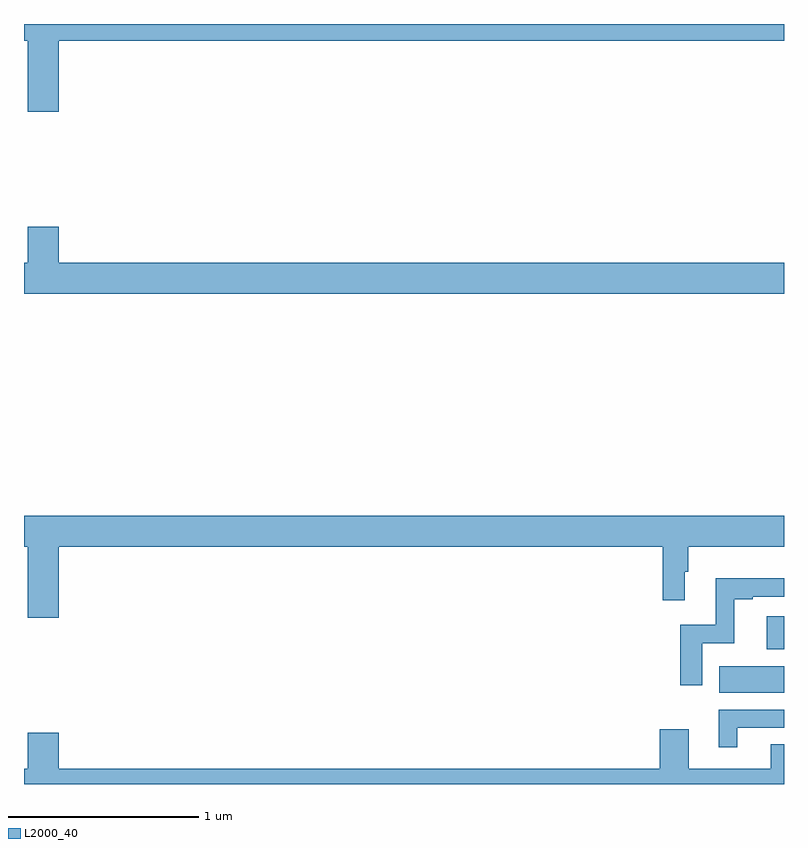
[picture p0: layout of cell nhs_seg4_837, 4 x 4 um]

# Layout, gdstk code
import gdstk
lib = gdstk.Library(unit=1e-6, precision=1e-09)
def R(c, l, rs):  # rectangles x0, y0, x1, y1
    for r in rs: c.add(gdstk.rectangle(r[:2], r[2:], *l))
def P(c, l, *ps):  # polygons
    for p in ps: c.add(gdstk.Polygon(p, *l))
L2000_40 = (2000, 40)

nhs_seg4_837 = lib.new_cell('nhs_seg4_837')
R(nhs_seg4_837, L2000_40, [(156.66,801.38,157,801.52), (156.908,801.608,157,801.784)])
P(nhs_seg4_837, L2000_40, [(153.184,804.812),(157,804.812),(157,804.9),(153,804.9),(153,804.812),(153.02,804.812),(153.02,804.438),(153.184,804.438)],
  [(157,803.644),(153.184,803.644),(153.184,803.833),(153.02,803.833),(153.02,803.644),(153,803.644),(153,803.48),(157,803.48)],
  [(153.184,802.148),(156.361,802.148),(156.361,801.867),(156.478,801.867),(156.478,802.016),(156.497,802.016),(156.497,802.148),(157,802.148),(157,802.312),(153,802.312),(153,802.148),(153.02,802.148),(153.02,801.774),(153.184,801.774)],
  [(156.57,801.642),(156.739,801.642),(156.739,801.873),(156.835,801.873),(156.835,801.885),(157,801.885),(157,801.982),(156.641,801.982),(156.641,801.738),(156.454,801.738),(156.454,801.42),(156.57,801.42)],
  [(156.754,801.195),(157,801.195),(157,801.291),(156.656,801.291),(156.656,801.093),(156.754,801.093)],
  [(157,801.11),(156.929,801.11),(156.929,800.98),(156.499,800.98),(156.499,801.187),(156.347,801.187),(156.347,800.98),(153.184,800.98),(153.184,801.169),(153.02,801.169),(153.02,800.98),(153,800.98),(153,800.9),(157,800.9)])

lib.write_gds('nhs_seg4_837.gds')
